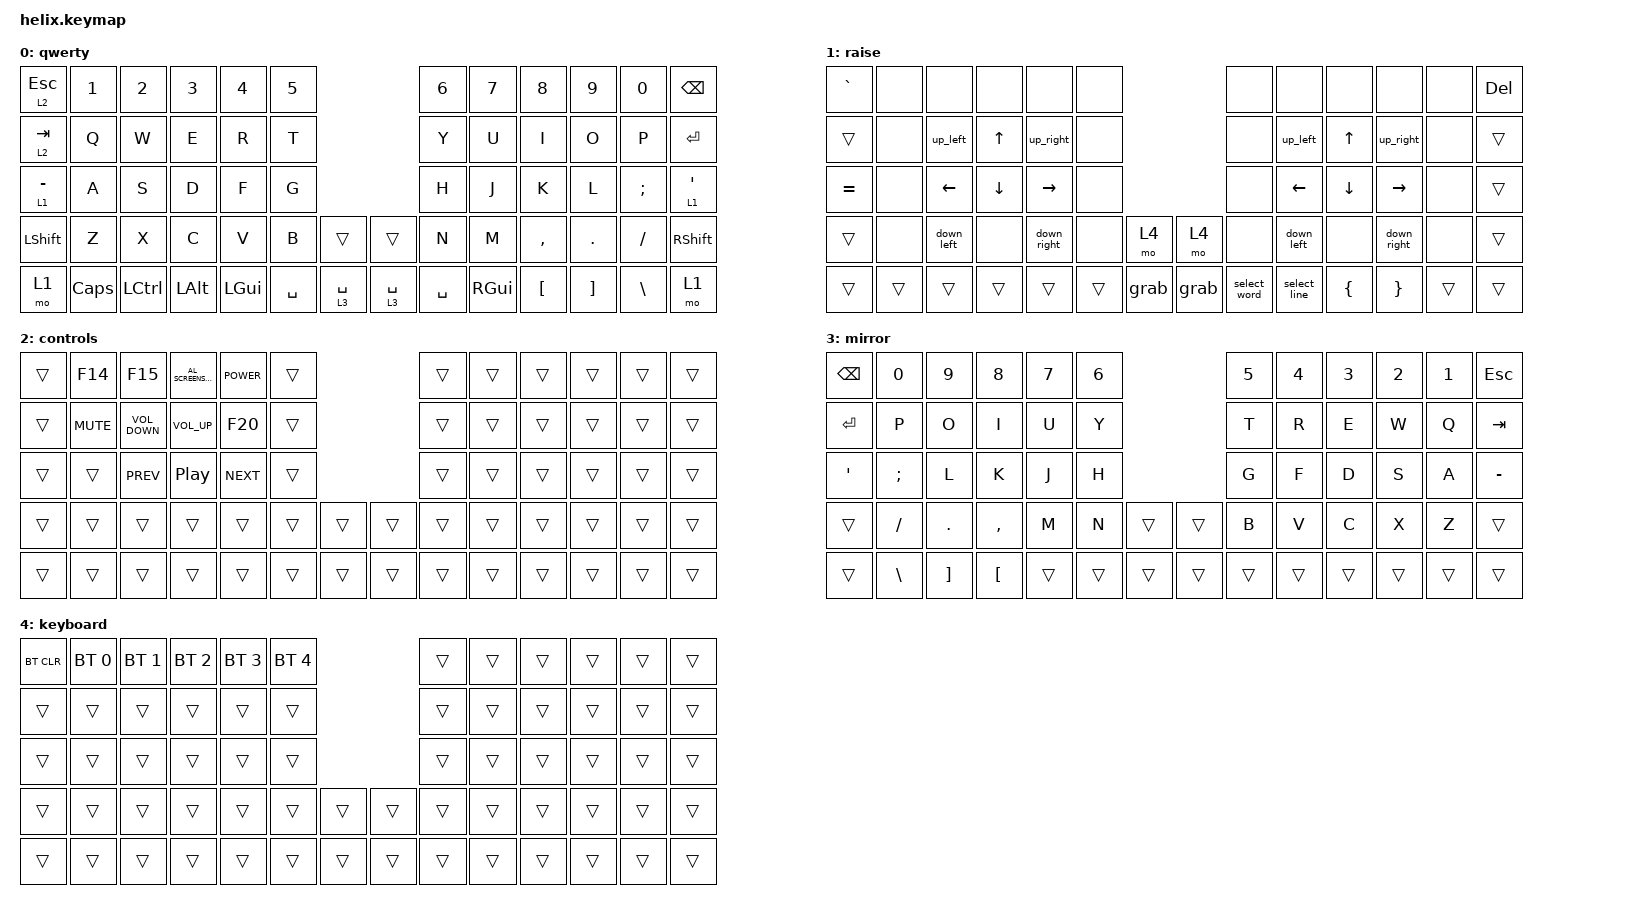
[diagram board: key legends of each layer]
/*
 * Copyright (c) 2020 The ZMK Contributors
 *
 * SPDX-License-Identifier: MIT
 */

#include <behaviors.dtsi>
#include <dt-bindings/zmk/bt.h>
#include <dt-bindings/zmk/keys.h>

#define DEFAULT 0
#define LOWER  1
#define RAISE  2

// Log to USB (not working yet)
// CONFIG_ZMK_USB_LOGGING=y
/* NOTE: At the time of the creation of this keymap, there are no specified codes for 'eisuu' and 'kana' input in ZMK.
However, 'LANG1' and 'LANG2' are fully-functioning candidates for 'kana' and 'eisuu' input respectively.
As such, those are in use within the default layer at this time.*/

/ {
    combos {
        compatible = "zmk,combos";

        Exclaimation {
            bindings = <&kp EXCLAMATION>;
            key-positions = <13 1>;
            layers = <0>;
        };

        at {
            bindings = <&kp AT_SIGN>;
            key-positions = <2 14>;
            layers = <0>;
        };

        hash {
            bindings = <&kp HASH>;
            key-positions = <3 15>;
            layers = <0>;
        };

        dollar {
            bindings = <&kp DOLLAR>;
            key-positions = <4 16>;
            layers = <0>;
        };

        percent {
            bindings = <&kp PERCENT>;
            key-positions = <5 17>;
            layers = <0>;
        };

        caret {
            bindings = <&kp CARET>;
            key-positions = <6 18>;
            layers = <0>;
        };

        ampersand {
            bindings = <&kp AMPERSAND>;
            key-positions = <7 19>;
            layers = <0>;
        };

        asterix {
            bindings = <&kp ASTERISK>;
            key-positions = <8 20>;
            layers = <0>;
        };

        leftparens {
            bindings = <&kp LEFT_PARENTHESIS>;
            key-positions = <9 21>;
            layers = <0>;
        };

        rightparens {
            bindings = <&kp RIGHT_PARENTHESIS>;
            key-positions = <10 22>;
            layers = <0>;
        };

        backspace-word {
            bindings = <&kp LA(BACKSPACE)>;
            key-positions = <11 10>;
            layers = <0>;
        };

        backspace-line {
            bindings = <&kp LG(BACKSPACE)>;
            key-positions = <9 10 11>;
            layers = <0>;
        };

        super-up-r {
            bindings = <&kp PAGE_UP>;
            key-positions = <8 20>;
            layers = <1>;
        };

        super-down-r {
            bindings = <&kp PAGE_DOWN>;
            key-positions = <32 46>;
            layers = <1>;
        };

        super-left-r {
            bindings = <&kp RA(LEFT_ARROW)>;
            key-positions = <30 31>;
            layers = <1>;
        };

        super-right-r {
            bindings = <&kp RA(RIGHT_ARROW)>;
            key-positions = <33 34>;
            layers = <1>;
        };

        super-up-l {
            bindings = <&kp PAGE_UP>;
            key-positions = <3 15>;
            layers = <1>;
        };

        super-down-l {
            bindings = <&kp PAGE_DOWN>;
            key-positions = <27 39>;
            layers = <1>;
        };

        super-left-l {
            bindings = <&kp RA(LEFT_ARROW)>;
            key-positions = <25 26>;
            layers = <1>;
        };

        super-right-l {
            bindings = <&kp RA(RIGHT_ARROW)>;
            key-positions = <28 29>;
            layers = <1>;
        };

        arrow-shift {
            bindings = <&kp RS(RIGHT_GUI)>;
            key-positions = <59 58>;
        };
    };

    behaviors {
        home_tap_hold: home_tap_hold {
            compatible = "zmk,behavior-hold-tap";
            label = "HOME_TAP_HOLD";
            bindings = <&mo>, <&kp>;

            #binding-cells = <2>;
            tapping-term-ms = <300>;
            flavor = "tap-unless-interrupted";
        };
    };

    macros {
        up_left: up_left {
            compatible = "zmk,behavior-macro";
            #binding-cells = <0>;
            bindings = <&macro_tap>, <&kp UP_ARROW &kp LEFT_ARROW>;

            label = "UP_LEFT";
        };

        up_right: up_right {
            compatible = "zmk,behavior-macro";
            #binding-cells = <0>;
            bindings = <&macro_tap>, <&kp UP_ARROW &kp RIGHT_ARROW>;

            label = "UP_RIGHT";
        };

        down_left: down_left {
            compatible = "zmk,behavior-macro";
            #binding-cells = <0>;
            bindings = <&macro_tap>, <&kp DOWN_ARROW &kp LEFT_ARROW>;

            label = "DOWN_LEFT";
        };

        down_right: down_right {
            compatible = "zmk,behavior-macro";
            #binding-cells = <0>;
            bindings = <&macro_tap>, <&kp DOWN_ARROW &kp RIGHT_ARROW>;

            label = "DOWN_RIGHT";
        };

        grab: grab {
            compatible = "zmk,behavior-macro";
            #binding-cells = <0>;
            bindings = <&kp LG(X)>, <&macro_pause_for_release>, <&kp LG(V)>;

            label = "GRAB";
        };

        select_word: select_word {
            compatible = "zmk,behavior-macro";
            #binding-cells = <0>;
            bindings = <&kp RA(LEFT_ARROW) &kp RS(RA(RIGHT_ARROW))>;
            label = "SELECT_WORD";
        };

        select_line: select_line {
            compatible = "zmk,behavior-macro";
            #binding-cells = <0>;
            bindings = <&kp RG(RIGHT_ARROW) &kp RS(RG(LEFT_ARROW))>;
            label = "SELECT_LINE";
        };
    };

    keymap {
        compatible = "zmk,keymap";

        qwerty {
            bindings = <
&lt 2 ESCAPE    &kp N1        &kp NUMBER_2  &kp N3        &kp N4        &kp N5                                 &kp NUMBER_6  &kp N7         &kp N8            &kp N9             &kp N0         &kp BACKSPACE
&lt 2 TAB       &kp Q         &kp W         &kp E         &kp R         &kp T                                  &kp Y         &kp U          &kp I             &kp O              &kp P          &kp RETURN
&lt 1 MINUS     &kp A         &kp S         &kp D         &kp F         &kp G                                  &kp H         &kp J          &kp K             &kp L              &kp SEMICOLON  &lt 1 SINGLE_QUOTE
&kp LEFT_SHIFT  &kp Z         &kp X         &kp C         &kp V         &kp B      &trans         &trans       &kp N         &kp M          &kp COMMA         &kp PERIOD         &kp SLASH      &kp RIGHT_SHIFT
&mo 1           &kp CAPSLOCK  &kp LCTRL     &kp LEFT_ALT  &kp LEFT_GUI  &kp SPACE  &lt 3 SPACE    &lt 3 SPACE  &kp SPACE     &kp RIGHT_GUI  &kp LEFT_BRACKET  &kp RIGHT_BRACKET  &kp BACKSLASH  &mo 1
            >;

            label = "qwerty";
        };

        raise {
            bindings = <
&kp GRAVE  &none   &none           &none           &none            &none                   &none         &none           &none           &none            &none   &kp DEL
&trans     &none   &up_left        &kp UP_ARROW    &up_right        &none                   &none         &up_left        &kp UP_ARROW    &up_right        &none   &trans
&kp EQUAL  &none   &kp LEFT_ARROW  &kp DOWN_ARROW  &kp RIGHT_ARROW  &none                   &none         &kp LEFT_ARROW  &kp DOWN_ARROW  &kp RIGHT_ARROW  &none   &trans
&trans     &none   &down_left      &none           &down_right      &none   &mo 4    &mo 4  &none         &down_left      &none           &down_right      &none   &trans
&trans     &trans  &trans          &trans          &trans           &trans  &grab    &grab  &select_word  &select_line    &kp LEFT_BRACE  &kp RIGHT_BRACE  &trans  &trans
            >;

            label = "raise";
        };

        controls {
            bindings = <
&trans  &kp F14     &kp F15            &kp C_AL_SCREENSAVER  &kp K_POWER  &trans                    &trans  &trans  &trans  &trans  &trans  &trans
&trans  &kp K_MUTE  &kp C_VOLUME_DOWN  &kp C_VOLUME_UP       &kp F20      &trans                    &trans  &trans  &trans  &trans  &trans  &trans
&trans  &trans      &kp C_PREV         &kp C_PP              &kp C_NEXT   &trans                    &trans  &trans  &trans  &trans  &trans  &trans
&trans  &trans      &trans             &trans                &trans       &trans  &trans    &trans  &trans  &trans  &trans  &trans  &trans  &trans
&trans  &trans      &trans             &trans                &trans       &trans  &trans    &trans  &trans  &trans  &trans  &trans  &trans  &trans
            >;

            label = "controls";
        };

        mirror {
            bindings = <
&kp BSPC    &kp N0         &kp N9             &kp N8            &kp N7  &kp NUMBER_6                    &kp N5  &kp N4  &kp N3  &kp N2  &kp N1  &kp ESC
&kp RETURN  &kp P          &kp O              &kp I             &kp U   &kp Y                           &kp T   &kp R   &kp E   &kp W   &kp Q   &kp TAB
&kp SQT     &kp SEMICOLON  &kp L              &kp K             &kp J   &kp H                           &kp G   &kp F   &kp D   &kp S   &kp A   &kp MINUS
&trans      &kp SLASH      &kp PERIOD         &kp COMMA         &kp M   &kp N         &trans    &trans  &kp B   &kp V   &kp C   &kp X   &kp Z   &trans
&trans      &kp BACKSLASH  &kp RIGHT_BRACKET  &kp LEFT_BRACKET  &trans  &trans        &trans    &trans  &trans  &trans  &trans  &trans  &trans  &trans
            >;

            label = "mirror";
        };

        keyboard {
            bindings = <
&bt BT_CLR  &bt BT_SEL 0  &bt BT_SEL 1  &bt BT_SEL 2  &bt BT_SEL 3  &bt BT_SEL 4                    &trans  &trans  &trans  &trans  &trans  &trans
&trans      &trans        &trans        &trans        &trans        &trans                          &trans  &trans  &trans  &trans  &trans  &trans
&trans      &trans        &trans        &trans        &trans        &trans                          &trans  &trans  &trans  &trans  &trans  &trans
&trans      &trans        &trans        &trans        &trans        &trans        &trans    &trans  &trans  &trans  &trans  &trans  &trans  &trans
&trans      &trans        &trans        &trans        &trans        &trans        &trans    &trans  &trans  &trans  &trans  &trans  &trans  &trans
            >;

            label = "keyboard";
        };
    };
};
